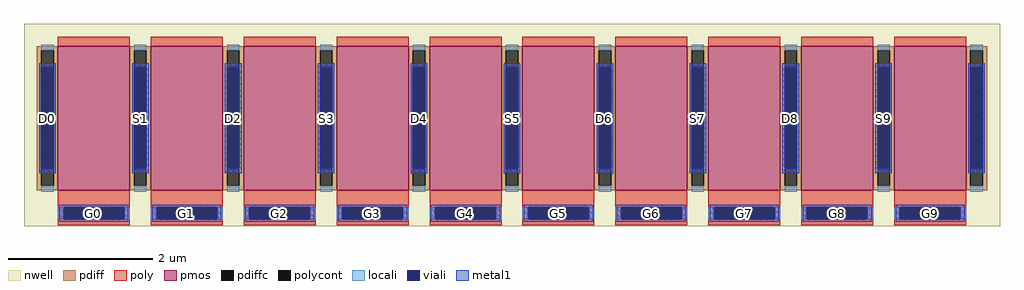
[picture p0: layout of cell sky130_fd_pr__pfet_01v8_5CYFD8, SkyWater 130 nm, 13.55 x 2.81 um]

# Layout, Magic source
magic
tech sky130A
magscale 1 2
<< nwell >>
rect -1355 -264 1355 298
<< pmos >>
rect -1261 -164 -1061 236
rect -1003 -164 -803 236
rect -745 -164 -545 236
rect -487 -164 -287 236
rect -229 -164 -29 236
rect 29 -164 229 236
rect 287 -164 487 236
rect 545 -164 745 236
rect 803 -164 1003 236
rect 1061 -164 1261 236
<< pdiff >>
rect -1319 224 -1261 236
rect -1319 -152 -1307 224
rect -1273 -152 -1261 224
rect -1319 -164 -1261 -152
rect -1061 224 -1003 236
rect -1061 -152 -1049 224
rect -1015 -152 -1003 224
rect -1061 -164 -1003 -152
rect -803 224 -745 236
rect -803 -152 -791 224
rect -757 -152 -745 224
rect -803 -164 -745 -152
rect -545 224 -487 236
rect -545 -152 -533 224
rect -499 -152 -487 224
rect -545 -164 -487 -152
rect -287 224 -229 236
rect -287 -152 -275 224
rect -241 -152 -229 224
rect -287 -164 -229 -152
rect -29 224 29 236
rect -29 -152 -17 224
rect 17 -152 29 224
rect -29 -164 29 -152
rect 229 224 287 236
rect 229 -152 241 224
rect 275 -152 287 224
rect 229 -164 287 -152
rect 487 224 545 236
rect 487 -152 499 224
rect 533 -152 545 224
rect 487 -164 545 -152
rect 745 224 803 236
rect 745 -152 757 224
rect 791 -152 803 224
rect 745 -164 803 -152
rect 1003 224 1061 236
rect 1003 -152 1015 224
rect 1049 -152 1061 224
rect 1003 -164 1061 -152
rect 1261 224 1319 236
rect 1261 -152 1273 224
rect 1307 -152 1319 224
rect 1261 -164 1319 -152
<< pdiffc >>
rect -1307 -152 -1273 224
rect -1049 -152 -1015 224
rect -791 -152 -757 224
rect -533 -152 -499 224
rect -275 -152 -241 224
rect -17 -152 17 224
rect 241 -152 275 224
rect 499 -152 533 224
rect 757 -152 791 224
rect 1015 -152 1049 224
rect 1273 -152 1307 224
<< poly >>
rect -1261 236 -1061 262
rect -1003 236 -803 262
rect -745 236 -545 262
rect -487 236 -287 262
rect -229 236 -29 262
rect 29 236 229 262
rect 287 236 487 262
rect 545 236 745 262
rect 803 236 1003 262
rect 1061 236 1261 262
rect -1261 -211 -1061 -164
rect -1261 -245 -1245 -211
rect -1077 -245 -1061 -211
rect -1261 -261 -1061 -245
rect -1003 -211 -803 -164
rect -1003 -245 -987 -211
rect -819 -245 -803 -211
rect -1003 -261 -803 -245
rect -745 -211 -545 -164
rect -745 -245 -729 -211
rect -561 -245 -545 -211
rect -745 -261 -545 -245
rect -487 -211 -287 -164
rect -487 -245 -471 -211
rect -303 -245 -287 -211
rect -487 -261 -287 -245
rect -229 -211 -29 -164
rect -229 -245 -213 -211
rect -45 -245 -29 -211
rect -229 -261 -29 -245
rect 29 -211 229 -164
rect 29 -245 45 -211
rect 213 -245 229 -211
rect 29 -261 229 -245
rect 287 -211 487 -164
rect 287 -245 303 -211
rect 471 -245 487 -211
rect 287 -261 487 -245
rect 545 -211 745 -164
rect 545 -245 561 -211
rect 729 -245 745 -211
rect 545 -261 745 -245
rect 803 -211 1003 -164
rect 803 -245 819 -211
rect 987 -245 1003 -211
rect 803 -261 1003 -245
rect 1061 -211 1261 -164
rect 1061 -245 1077 -211
rect 1245 -245 1261 -211
rect 1061 -261 1261 -245
<< polycont >>
rect -1245 -245 -1077 -211
rect -987 -245 -819 -211
rect -729 -245 -561 -211
rect -471 -245 -303 -211
rect -213 -245 -45 -211
rect 45 -245 213 -211
rect 303 -245 471 -211
rect 561 -245 729 -211
rect 819 -245 987 -211
rect 1077 -245 1245 -211
<< locali >>
rect -1307 224 -1273 240
rect -1307 -168 -1273 -152
rect -1049 224 -1015 240
rect -1049 -168 -1015 -152
rect -791 224 -757 240
rect -791 -168 -757 -152
rect -533 224 -499 240
rect -533 -168 -499 -152
rect -275 224 -241 240
rect -275 -168 -241 -152
rect -17 224 17 240
rect -17 -168 17 -152
rect 241 224 275 240
rect 241 -168 275 -152
rect 499 224 533 240
rect 499 -168 533 -152
rect 757 224 791 240
rect 757 -168 791 -152
rect 1015 224 1049 240
rect 1015 -168 1049 -152
rect 1273 224 1307 240
rect 1273 -168 1307 -152
rect -1261 -245 -1245 -211
rect -1077 -245 -1061 -211
rect -1003 -245 -987 -211
rect -819 -245 -803 -211
rect -745 -245 -729 -211
rect -561 -245 -545 -211
rect -487 -245 -471 -211
rect -303 -245 -287 -211
rect -229 -245 -213 -211
rect -45 -245 -29 -211
rect 29 -245 45 -211
rect 213 -245 229 -211
rect 287 -245 303 -211
rect 471 -245 487 -211
rect 545 -245 561 -211
rect 729 -245 745 -211
rect 803 -245 819 -211
rect 987 -245 1003 -211
rect 1061 -245 1077 -211
rect 1245 -245 1261 -211
<< viali >>
rect -1307 -105 -1273 177
rect -1049 -105 -1015 177
rect -791 -105 -757 177
rect -533 -105 -499 177
rect -275 -105 -241 177
rect -17 -105 17 177
rect 241 -105 275 177
rect 499 -105 533 177
rect 757 -105 791 177
rect 1015 -105 1049 177
rect 1273 -105 1307 177
rect -1245 -245 -1077 -211
rect -987 -245 -819 -211
rect -729 -245 -561 -211
rect -471 -245 -303 -211
rect -213 -245 -45 -211
rect 45 -245 213 -211
rect 303 -245 471 -211
rect 561 -245 729 -211
rect 819 -245 987 -211
rect 1077 -245 1245 -211
<< metal1 >>
rect -1313 177 -1267 189
rect -1313 -105 -1307 177
rect -1273 -105 -1267 177
rect -1313 -117 -1267 -105
rect -1055 177 -1009 189
rect -1055 -105 -1049 177
rect -1015 -105 -1009 177
rect -1055 -117 -1009 -105
rect -797 177 -751 189
rect -797 -105 -791 177
rect -757 -105 -751 177
rect -797 -117 -751 -105
rect -539 177 -493 189
rect -539 -105 -533 177
rect -499 -105 -493 177
rect -539 -117 -493 -105
rect -281 177 -235 189
rect -281 -105 -275 177
rect -241 -105 -235 177
rect -281 -117 -235 -105
rect -23 177 23 189
rect -23 -105 -17 177
rect 17 -105 23 177
rect -23 -117 23 -105
rect 235 177 281 189
rect 235 -105 241 177
rect 275 -105 281 177
rect 235 -117 281 -105
rect 493 177 539 189
rect 493 -105 499 177
rect 533 -105 539 177
rect 493 -117 539 -105
rect 751 177 797 189
rect 751 -105 757 177
rect 791 -105 797 177
rect 751 -117 797 -105
rect 1009 177 1055 189
rect 1009 -105 1015 177
rect 1049 -105 1055 177
rect 1009 -117 1055 -105
rect 1267 177 1313 189
rect 1267 -105 1273 177
rect 1307 -105 1313 177
rect 1267 -117 1313 -105
rect -1257 -211 -1065 -205
rect -1257 -245 -1245 -211
rect -1077 -245 -1065 -211
rect -1257 -251 -1065 -245
rect -999 -211 -807 -205
rect -999 -245 -987 -211
rect -819 -245 -807 -211
rect -999 -251 -807 -245
rect -741 -211 -549 -205
rect -741 -245 -729 -211
rect -561 -245 -549 -211
rect -741 -251 -549 -245
rect -483 -211 -291 -205
rect -483 -245 -471 -211
rect -303 -245 -291 -211
rect -483 -251 -291 -245
rect -225 -211 -33 -205
rect -225 -245 -213 -211
rect -45 -245 -33 -211
rect -225 -251 -33 -245
rect 33 -211 225 -205
rect 33 -245 45 -211
rect 213 -245 225 -211
rect 33 -251 225 -245
rect 291 -211 483 -205
rect 291 -245 303 -211
rect 471 -245 483 -211
rect 291 -251 483 -245
rect 549 -211 741 -205
rect 549 -245 561 -211
rect 729 -245 741 -211
rect 549 -251 741 -245
rect 807 -211 999 -205
rect 807 -245 819 -211
rect 987 -245 999 -211
rect 807 -251 999 -245
rect 1065 -211 1257 -205
rect 1065 -245 1077 -211
rect 1245 -245 1257 -211
rect 1065 -251 1257 -245
<< labels >>
rlabel pdiffc -1290 36 -1290 36 0 D0
port 1 nsew
rlabel polycont -1161 -228 -1161 -228 0 G0
port 2 nsew
rlabel pdiffc -1032 36 -1032 36 0 S1
port 3 nsew
rlabel polycont -903 -228 -903 -228 0 G1
port 4 nsew
rlabel pdiffc -774 36 -774 36 0 D2
port 5 nsew
rlabel polycont -645 -228 -645 -228 0 G2
port 6 nsew
rlabel pdiffc -516 36 -516 36 0 S3
port 7 nsew
rlabel polycont -387 -228 -387 -228 0 G3
port 8 nsew
rlabel pdiffc -258 36 -258 36 0 D4
port 9 nsew
rlabel polycont -129 -228 -129 -228 0 G4
port 10 nsew
rlabel pdiffc 0 36 0 36 0 S5
port 11 nsew
rlabel polycont 129 -228 129 -228 0 G5
port 12 nsew
rlabel pdiffc 258 36 258 36 0 D6
port 13 nsew
rlabel polycont 387 -228 387 -228 0 G6
port 14 nsew
rlabel pdiffc 516 36 516 36 0 S7
port 15 nsew
rlabel polycont 645 -228 645 -228 0 G7
port 16 nsew
rlabel pdiffc 774 36 774 36 0 D8
port 17 nsew
rlabel polycont 903 -228 903 -228 0 G8
port 18 nsew
rlabel pdiffc 1032 36 1032 36 0 S9
port 19 nsew
rlabel polycont 1161 -228 1161 -228 0 G9
port 20 nsew
<< properties >>
string gencell sky130_fd_pr__pfet_01v8
string library sky130
string parameters w 2.0 l 1.0 m 1 nf 10 diffcov 100 polycov 100 guard 0 glc 1 grc 1 gtc 1 gbc 1 tbcov 100 rlcov 100 topc 0 botc 1 poverlap 0 doverlap 1 lmin 0.15 wmin 0.42 class mosfet compatible {sky130_fd_pr__pfet_01v8  sky130_fd_pr__pfet_01v8_lvt sky130_fd_pr__pfet_01v8_hvt  sky130_fd_pr__pfet_g5v0d10v5} full_metal 1 conn_gates 0 viasrc 75 viadrn 75 viagate 100 viagb 0 viagr 0 viagl 0 viagt 0 doports 1
<< end >>
